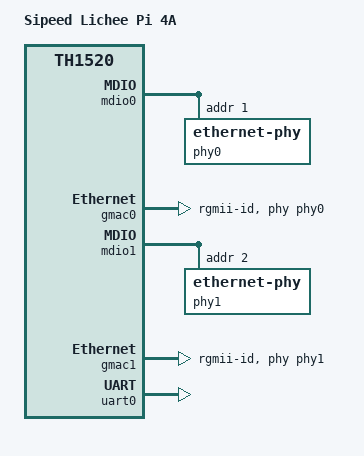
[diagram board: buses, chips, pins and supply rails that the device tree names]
// SPDX-License-Identifier: (GPL-2.0 OR MIT)
/*
 * Copyright (C) 2023 Jisheng Zhang <jszhang@kernel.org>
 */

#include "th1520-lichee-module-4a.dtsi"

/ {
	model = "Sipeed Lichee Pi 4A";
	compatible = "sipeed,lichee-pi-4a", "sipeed,lichee-module-4a", "thead,th1520";

	aliases {
		ethernet0 = &gmac0;
		ethernet1 = &gmac1;
		gpio0 = &gpio0;
		gpio1 = &gpio1;
		gpio2 = &gpio2;
		gpio3 = &gpio3;
		serial0 = &uart0;
		serial1 = &uart1;
		serial2 = &uart2;
		serial3 = &uart3;
		serial4 = &uart4;
		serial5 = &uart5;
	};

	chosen {
		stdout-path = "serial0:115200n8";
	};
};

&mdio0 {
	phy0: ethernet-phy@1 {
		reg = <1>;
	};
};

&gmac0 {
	phy-handle = <&phy0>;
	phy-mode = "rgmii-id";
	status = "okay";
};

&mdio1 {
	phy1: ethernet-phy@2 {
		reg = <2>;
	};
};

&gmac1 {
	phy-handle = <&phy1>;
	phy-mode = "rgmii-id";
};

&uart0 {
	status = "okay";
};
